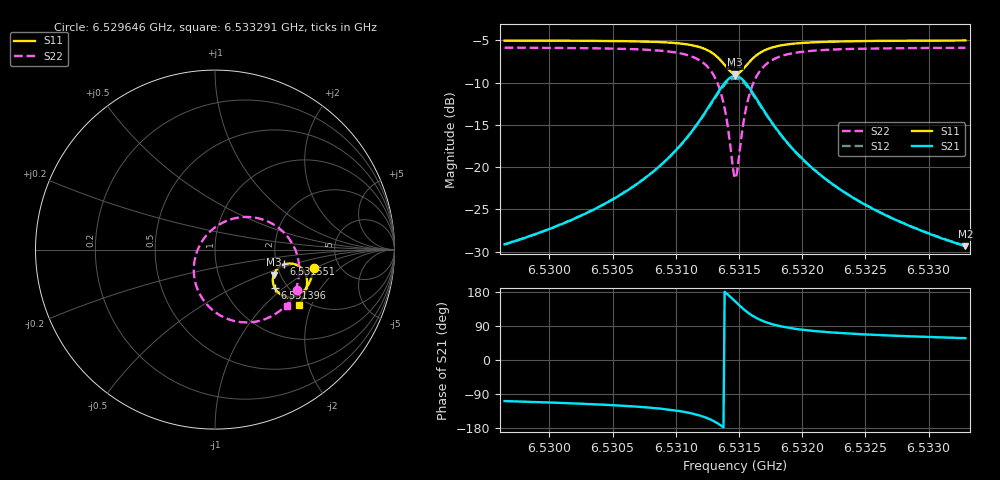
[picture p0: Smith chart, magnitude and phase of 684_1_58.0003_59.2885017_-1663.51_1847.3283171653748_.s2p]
#  HZ  S  RI  R  50.00
! Rohde & Schwarz Vector Network Analyzer
! Rohde-Schwarz,ZNB20-2Port,1311601062101988,3.16
! Created: UTC 3/21/2024, 1:20:59 AM
! freq[Hz]  re:S11  im:S11  re:S21  im:S21  re:S12  im:S12  re:S22  im:S22
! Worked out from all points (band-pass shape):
!   401 points, 6.529646 GHz to 6.533291 GHz, reference 50 ohm
!   highest |S21| = -9.22 dB at 6.531469 GHz (marker M1); lowest = -29.3 dB at 6.533291 GHz (marker M2)
!   |S21| within 3 dB of the highest: 6.531288 GHz to 6.531652 GHz (364.2 kHz wide, 0.00558 % of centre)
!   lowest |S11| = -9.0 dB at 6.531469 GHz (marker M3), VSWR 2.11, Z = 92.5 - j29.7 ohm
!   |S11| at or under -10 dB: nowhere
!   |S22| runs from -21.3 to -5.9 dB; largest |S21 - S12| = 0.015
!   S11 on the Smith chart (normalised r, x): 6.529646 GHz: 3.23, -0.98; 6.531396 GHz: 1.72, -0.87; 6.531551 GHz: 2.20, -0.43; 6.533291 GHz: 1.83, -1.64
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6.5296462e9  0.5506 -0.1038  -0.011 -0.0333  -0.0117 -0.0331  0.4574 -0.2234
6.5302567e9  0.537 -0.1556  -0.0223 -0.0469  -0.0235 -0.0464  0.4206 -0.2816
6.5305939e9  0.5236 -0.1882  -0.0367 -0.0609  -0.0383 -0.06  0.3832 -0.3227
6.5308673e9  0.5039 -0.2195  -0.0621 -0.0793  -0.0645 -0.0774  0.3265 -0.365
6.5310769e9  0.4732 -0.2479  -0.1078 -0.0987  -0.1107 -0.0945  0.2349 -0.3999
6.5312409e9  0.4198 -0.2645  -0.1911 -0.1002  -0.1928 -0.0918  0.0843 -0.3913
6.5313321e9  0.3688 -0.2515  -0.2693 -0.0607  -0.2664 -0.0491  -0.0427 -0.3088
6.5313685e9  0.3466 -0.2335  -0.3013 -0.0236  -0.2951 -0.0117  -0.0892 -0.2398
6.5313958e9  0.3327 -0.2132  -0.3202 0.0149  -0.3109 0.0257  -0.1122 -0.1724
6.5314505e9  0.323 -0.1591  -0.3253 0.1122  -0.3117 0.1174  -0.1009 -0.0121
6.5314687e9  0.3275 -0.1399  -0.314 0.1454  -0.3001 0.1482  -0.0763 0.0399
6.531487e9  0.3359 -0.122  -0.2963 0.1757  -0.2829 0.1762  -0.0418 0.0859
6.5315508e9  0.3852 -0.0822  -0.2046 0.2413  -0.1963 0.2367  0.1195 0.1766
6.5315872e9  0.4161 -0.0771  -0.1509 0.2491  -0.1453 0.2442  0.2102 0.1798
6.5316237e9  0.4422 -0.0809  -0.1058 0.2427  -0.1021 0.2384  0.2847 0.161
6.5316783e9  0.4709 -0.0951  -0.057 0.2207  -0.0548 0.2177  0.3635 0.1139
6.531733e9  0.4893 -0.1122  -0.0261 0.1953  -0.0246 0.1934  0.4116 0.0629
6.5318606e9  0.5085 -0.1481  0.00763 0.1459  0.00891 0.1451  0.4592 -0.0348
6.5320793e9  0.5129 -0.1911  0.0222 0.0964  0.0232 0.0961  0.4688 -0.1357
6.5323618e9  0.5064 -0.2279  0.0236 0.0648  0.0245 0.0645  0.4554 -0.206
6.5326899e9  0.4948 -0.2599  0.0217 0.0459  0.0226 0.0456  0.4356 -0.2554
6.5332913e9  0.4706 -0.3066  0.0182 0.0288  0.0188 0.0286  0.4003 -0.3129
